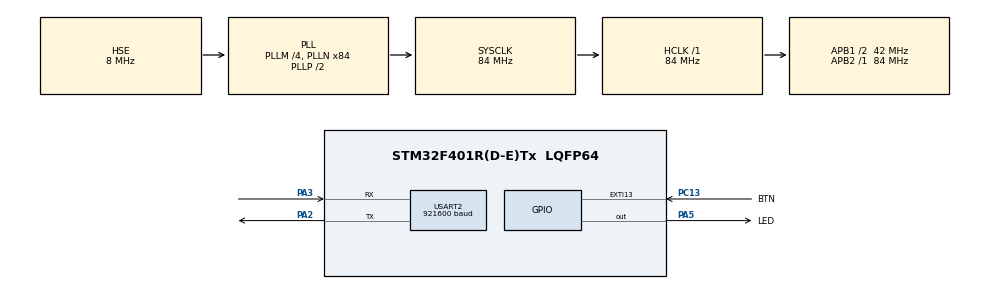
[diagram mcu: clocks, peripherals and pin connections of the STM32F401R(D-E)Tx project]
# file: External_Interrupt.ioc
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Mcu.Family=STM32F4
Mcu.Name=STM32F401R(D-E)Tx
Mcu.Package=LQFP64
NVIC.EXTI15_10_IRQn=true\:0\:0\:false\:false\:true\:true\:true\:true
NVIC.PriorityGroup=NVIC_PRIORITYGROUP_4
PA13.Mode=Serial_Wire
PA13.Signal=SYS_JTMS-SWDIO
PA14.Mode=Serial_Wire
PA14.Signal=SYS_JTCK-SWCLK
PA2.Mode=Asynchronous
PA2.Signal=USART2_TX
PA3.Mode=Asynchronous
PA3.Signal=USART2_RX
PA5.GPIO_Label=LED
PA5.PinState=GPIO_PIN_SET
PA5.Signal=GPIO_Output
PC13-ANTI_TAMP.GPIO_Label=BTN
PC13-ANTI_TAMP.GPIO_ModeDefaultEXTI=GPIO_MODE_IT_RISING
PC13-ANTI_TAMP.GPIO_PuPd=GPIO_PULLUP
PC13-ANTI_TAMP.Signal=GPXTI13
PH0\ -\ OSC_IN.Mode=HSE-External-Oscillator
PH0\ -\ OSC_IN.Signal=RCC_OSC_IN
PH1\ -\ OSC_OUT.Mode=HSE-External-Oscillator
PH1\ -\ OSC_OUT.Signal=RCC_OSC_OUT
ProjectManager.HeapSize=0x200
ProjectManager.StackSize=0x400
ProjectManager.TargetToolchain=STM32CubeIDE
RCC.48MHZClocksFreq_Value=24000000
RCC.AHBFreq_Value=84000000
RCC.APB1CLKDivider=RCC_HCLK_DIV2
RCC.APB1Freq_Value=42000000
RCC.APB1TimFreq_Value=84000000
RCC.APB2Freq_Value=84000000
RCC.APB2TimFreq_Value=84000000
RCC.CortexFreq_Value=84000000
RCC.HCLKFreq_Value=84000000
RCC.HSE_VALUE=8000000
RCC.HSI_VALUE=16000000
RCC.PLLM=4
RCC.PLLN=84
RCC.PLLQ=7
RCC.PLLSourceVirtual=RCC_PLLSOURCE_HSE
RCC.SYSCLKFreq_VALUE=84000000
RCC.SYSCLKSource=RCC_SYSCLKSOURCE_PLLCLK
RCC.VCOOutputFreq_Value=168000000
USART2.BaudRate=921600
USART2.VirtualMode=VM_ASYNC
board=NUCLEO-F401RE

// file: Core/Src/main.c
/* USER CODE BEGIN Header */
/**
  ******************************************************************************
  * @file           : main.c
  * @brief          : Main program body
  ******************************************************************************
  * @attention
  *
  * Copyright (c) 2025 STMicroelectronics.
  * All rights reserved.
  *
  * This software is licensed under terms that can be found in the LICENSE file
  * in the root directory of this software component.
  * If no LICENSE file comes with this software, it is provided AS-IS.
  *
  ******************************************************************************
  */
/* USER CODE END Header */
#include "main.h"

/* USER CODE BEGIN Includes */
#include <stdio.h>
/* USER CODE END Includes */

UART_HandleTypeDef huart2;

/* USER CODE BEGIN PV */
uint8_t btn_press = 0;

uint16_t blink_delays[] = {
		500,
		250,
		100
};
uint8_t blink_delay = 0;
/* USER CODE END PV */

void SystemClock_Config(void);
static void MX_GPIO_Init(void);
static void MX_USART2_UART_Init(void);

/* USER CODE BEGIN 0 */
// Send printf to uart2
int _write(int fd, char* ptr, int len) {
  HAL_StatusTypeDef hstatus;

  if (fd == 1 || fd == 2) {
    hstatus = HAL_UART_Transmit(&huart2, (uint8_t *) ptr, len, HAL_MAX_DELAY);
    if (hstatus == HAL_OK)
      return len;
    else
      return -1;
  }
  return -1;
}

__weak void HAL_GPIO_EXTI_Callback(uint16_t GPIO_Pin) {
	if (GPIO_Pin == BTN_Pin) {
		btn_press = 1;
	}
}
/* USER CODE END 0 */

int main(void)
{

  /* MCU Configuration--------------------------------------------------------*/

  /* Reset of all peripherals, Initializes the Flash interface and the Systick. */
  HAL_Init();

  /* Configure the system clock */
  SystemClock_Config();

  /* Initialize all configured peripherals */
  MX_GPIO_Init();
  MX_USART2_UART_Init();
  /* USER CODE BEGIN 2 */

  printf("Blink LD2 starting \t \n");

  /* USER CODE END 2 */

  /* Infinite loop */
  /* USER CODE BEGIN WHILE */
  uint32_t now = 0, last_blink = 0, last_tick = 0, loop_cnt = 0;
  while (1)
  {
	  now = HAL_GetTick();
	  if (now - last_blink >= blink_delays[blink_delay]) {
		  printf("Toggling GPIO \t \n");
		  HAL_GPIO_TogglePin(GPIOA, GPIO_PIN_5);
		  last_blink = now;
	  	}

	  if (now - last_tick >= 1000) {
		  printf("Tick %lu (loop count -> %lu) \t \n", now / 1000, loop_cnt);
		  loop_cnt = 0;
		  last_tick = now;
	  	  }

	  if (btn_press) {
		  printf("Button Pressed \t \n");
		  ++blink_delay;

		  if (blink_delay >= sizeof(blink_delays) / sizeof(blink_delays[0]))
			  blink_delay = 0;

		  btn_press = 0;
	  }
	  ++loop_cnt;
    /* USER CODE END WHILE */

  }
}

void SystemClock_Config(void)
{
  RCC_OscInitTypeDef RCC_OscInitStruct = {0};
  RCC_ClkInitTypeDef RCC_ClkInitStruct = {0};

  /** Configure the main internal regulator output voltage
  */
  __HAL_RCC_PWR_CLK_ENABLE();
  __HAL_PWR_VOLTAGESCALING_CONFIG(PWR_REGULATOR_VOLTAGE_SCALE2);

  /** Initializes the RCC Oscillators according to the specified parameters
  * in the RCC_OscInitTypeDef structure.
  */
  RCC_OscInitStruct.OscillatorType = RCC_OSCILLATORTYPE_HSE;
  RCC_OscInitStruct.HSEState = RCC_HSE_ON;
  RCC_OscInitStruct.PLL.PLLState = RCC_PLL_ON;
  RCC_OscInitStruct.PLL.PLLSource = RCC_PLLSOURCE_HSE;
  RCC_OscInitStruct.PLL.PLLM = 4;
  RCC_OscInitStruct.PLL.PLLN = 84;
  RCC_OscInitStruct.PLL.PLLP = RCC_PLLP_DIV2;
  RCC_OscInitStruct.PLL.PLLQ = 7;
  if (HAL_RCC_OscConfig(&RCC_OscInitStruct) != HAL_OK)
  {
    Error_Handler();
  }

  /** Initializes the CPU, AHB and APB buses clocks
  */
  RCC_ClkInitStruct.ClockType = RCC_CLOCKTYPE_HCLK|RCC_CLOCKTYPE_SYSCLK
                              |RCC_CLOCKTYPE_PCLK1|RCC_CLOCKTYPE_PCLK2;
  RCC_ClkInitStruct.SYSCLKSource = RCC_SYSCLKSOURCE_PLLCLK;
  RCC_ClkInitStruct.AHBCLKDivider = RCC_SYSCLK_DIV1;
  RCC_ClkInitStruct.APB1CLKDivider = RCC_HCLK_DIV2;
  RCC_ClkInitStruct.APB2CLKDivider = RCC_HCLK_DIV1;

  if (HAL_RCC_ClockConfig(&RCC_ClkInitStruct, FLASH_LATENCY_2) != HAL_OK)
  {
    Error_Handler();
  }
}

static void MX_USART2_UART_Init(void)
{

  huart2.Instance = USART2;
  huart2.Init.BaudRate = 921600;
  huart2.Init.WordLength = UART_WORDLENGTH_8B;
  huart2.Init.StopBits = UART_STOPBITS_1;
  huart2.Init.Parity = UART_PARITY_NONE;
  huart2.Init.Mode = UART_MODE_TX_RX;
  huart2.Init.HwFlowCtl = UART_HWCONTROL_NONE;
  huart2.Init.OverSampling = UART_OVERSAMPLING_16;
  if (HAL_UART_Init(&huart2) != HAL_OK)
  {
    Error_Handler();
  }

}

static void MX_GPIO_Init(void)
{
  GPIO_InitTypeDef GPIO_InitStruct = {0};

  /* GPIO Ports Clock Enable */
  __HAL_RCC_GPIOC_CLK_ENABLE();
  __HAL_RCC_GPIOH_CLK_ENABLE();
  __HAL_RCC_GPIOA_CLK_ENABLE();

  /*Configure GPIO pin Output Level */
  HAL_GPIO_WritePin(LED_GPIO_Port, LED_Pin, GPIO_PIN_SET);

  /*Configure GPIO pin : BTN_Pin */
  GPIO_InitStruct.Pin = BTN_Pin;
  GPIO_InitStruct.Mode = GPIO_MODE_IT_RISING;
  GPIO_InitStruct.Pull = GPIO_PULLUP;
  HAL_GPIO_Init(BTN_GPIO_Port, &GPIO_InitStruct);

  /*Configure GPIO pin : LED_Pin */
  GPIO_InitStruct.Pin = LED_Pin;
  GPIO_InitStruct.Mode = GPIO_MODE_OUTPUT_PP;
  GPIO_InitStruct.Pull = GPIO_NOPULL;
  GPIO_InitStruct.Speed = GPIO_SPEED_FREQ_LOW;
  HAL_GPIO_Init(LED_GPIO_Port, &GPIO_InitStruct);

  /* EXTI interrupt init*/
  HAL_NVIC_SetPriority(EXTI15_10_IRQn, 0, 0);
  HAL_NVIC_EnableIRQ(EXTI15_10_IRQn);

}

void Error_Handler(void)
{
  __disable_irq();
  while (1)
  {
  }
}
